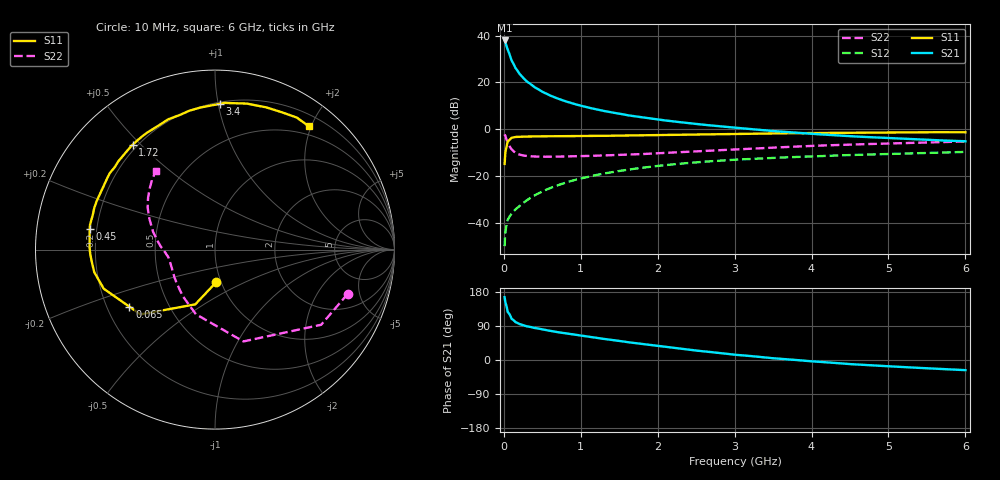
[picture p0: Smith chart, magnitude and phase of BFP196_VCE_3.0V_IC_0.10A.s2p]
! Infineon Technologies  Discrete & RF Semiconductors
! BFP196
! VCE = 3.0 V,  IC = 0.10A
! Common Emitter S-Parameters:  Jan 2016
# GHz  S  MA  R  50
!  f  S11  S21  S12  S22
! GHz  MAG  ANG  MAG  ANG  MAG  ANG  MAG  ANG
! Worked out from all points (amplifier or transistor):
!   210 points, 10 MHz to 6 GHz, reference 50 ohm
!   highest |S21| = 37.9 dB at 10 MHz (marker M1)
!   |S21| within 3 dB of that: start of sweep to 40.46 MHz
!   unconditionally stable (mu >= 1): 292.5 MHz to 5.135 GHz
!   at 185 MHz: K = 0.87, MSG = 28.9 dB, |S12| = -33.3 dB
!   at 1.52 GHz: K = 1.09, MAG = 10.3 dB, |S12| = -17.7 dB
!   at 6 GHz: K = 0.99, MSG = 2.3 dB, |S12| = -9.7 dB
!   S11 on the Smith chart (normalised r, x): 10 MHz: 0.95, -0.36; 65 MHz: 0.29, -0.28; 450 MHz: 0.17, +0.08; 1.72 GHz: 0.18, +0.47; 3.4 GHz: 0.21, +1.01; 6 GHz: 0.36, +1.96
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0.01  0.1819 -87.9  78.52 165.7  0.0032 77.6  0.7797 -18.4
0.02  0.3242 -109.8  71.51 152.2  0.0064 66.3  0.7248 -35.3
0.05  0.5503 -139.0  50.09 126.9  0.0117 54.9  0.5356 -72.8
0.065  0.5731 -146.3  43.58 123.3  0.013 54.1  0.4728 -80.4
0.1  0.657 -160.6  29.57 108.7  0.0159 52.7  0.3755 -106.5
0.15  0.6845 -169.4  20.46 100.2  0.0194 55.2  0.3157 -124.7
0.2  0.6901 -174.6  15.57 95.1  0.0227 58.5  0.2894 -135.9
0.26  0.6974 -179.5  12.06 91.0  0.0274 62.2  0.2744 -145.0
0.3  0.6991 178.2  10.44 88.8  0.0306 64.1  0.269 -149.2
0.4  0.7044 172.8  7.892 84.6  0.0389 66.2  0.2617 -156.7
0.45  0.7067 170.8  7.098 82.9  0.0429 66.7  0.2605 -159.0
0.5  0.7098 168.9  6.311 80.8  0.0469 67.1  0.2597 -161.4
0.6  0.7076 164.9  5.263 77.0  0.0554 66.8  0.2593 -164.6
0.7  0.7117 160.8  4.525 73.4  0.0635 66.5  0.2606 -167.1
1.02  0.7155 149.7  3.124 63.7  0.0905 63.4  0.267 -172.5
1.72  0.7428 128.2  1.871 44.2  0.1452 53.4  0.2927 178.9
2.02  0.7534 120.1  1.598 36.8  0.1664 48.6  0.3082 175.2
3.1  0.7982 94.0  1.046 12.4  0.2278 32.0  0.3765 160.0
3.4  0.8124 88.2  0.948 6.7  0.2409 27.7  0.3985 155.7
4.1  0.8334 76.2  0.78 -4.8  0.2674 18.9  0.448 146.8
5.1  0.8534 62.7  0.638 -17.6  0.3006 7.7  0.5021 136.1
6  0.8632 52.8  0.555 -26.8  0.3286 -2.4  0.5491 127.0
